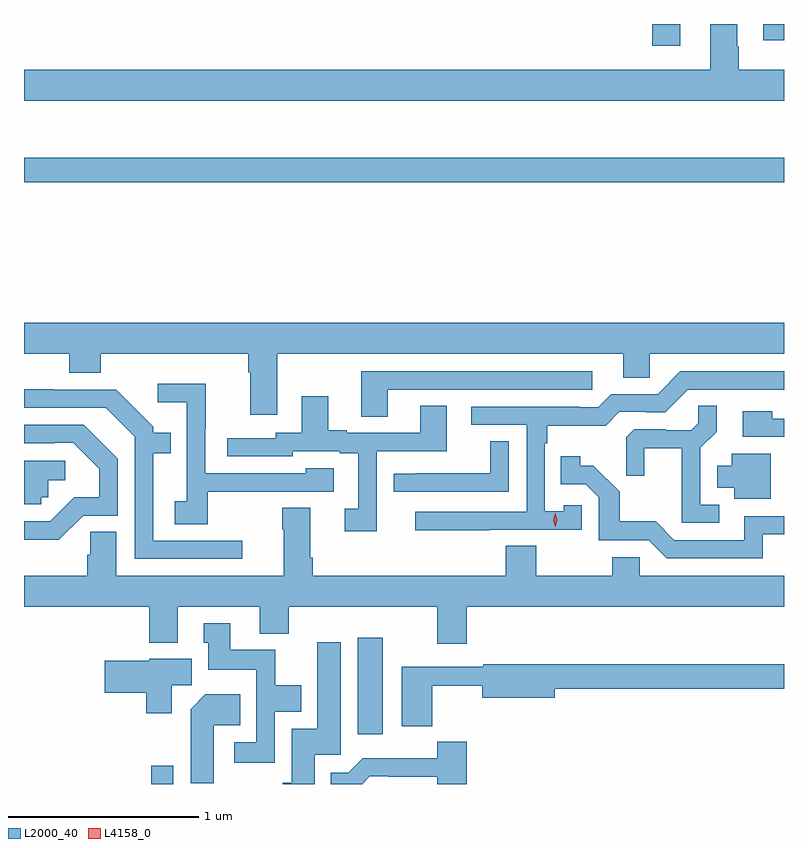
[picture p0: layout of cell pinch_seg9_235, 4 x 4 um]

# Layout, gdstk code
import gdstk
lib = gdstk.Library(unit=1e-6, precision=1e-09)
def R(c, l, rs):  # rectangles x0, y0, x1, y1
    for r in rs: c.add(gdstk.rectangle(r[:2], r[2:], *l))
def P(c, l, *ps):  # polygons
    for p in ps: c.add(gdstk.Polygon(p, *l))
L2000_40 = (2000, 40)
L4158_0 = (4158, 0)

pinch_seg9_235 = lib.new_cell('pinch_seg9_235')
R(pinch_seg9_235, L2000_40, [(424.894,1218.132,425.01,1218.229), (425.981,1218.393,426.112,1218.901), (424.225,1221.298,428.225,1221.427), (427.532,1222.017,427.678,1222.132), (428.115,1222.046,428.225,1222.132)])
P(pinch_seg9_235, L2000_40, [(428.225,1221.892),(427.986,1221.892),(427.986,1222.013),(427.978,1222.013),(427.978,1222.132),(427.838,1222.132),(427.838,1221.892),(424.225,1221.892),(424.225,1221.728),(428.225,1221.728)],
  [(425.557,1220.396),(427.379,1220.396),(427.379,1220.269),(427.518,1220.269),(427.518,1220.396),(428.225,1220.396),(428.225,1220.56),(424.225,1220.56),(424.225,1220.396),(424.463,1220.396),(424.463,1220.297),(424.628,1220.297),(424.628,1220.396),(425.405,1220.396),(425.405,1220.3),(425.417,1220.3),(425.417,1220.076),(425.557,1220.076)],
  [(426.139,1220.208),(427.216,1220.208),(427.216,1220.304),(425.999,1220.304),(425.999,1220.065),(426.139,1220.065)],
  [(426.677,1219.47),(427.161,1219.47),(427.161,1219.599),(427.065,1219.599),(427.065,1219.567),(426.966,1219.567),(426.966,1219.925),(426.979,1219.925),(426.979,1220.018),(427.286,1220.018),(427.359,1220.091),(427.498,1220.091),(427.498,1220.088),(427.599,1220.088),(427.719,1220.208),(428.225,1220.208),(428.225,1220.304),(427.68,1220.304),(427.56,1220.184),(427.317,1220.184),(427.248,1220.115),(427.148,1220.115),(427.148,1220.118),(426.579,1220.118),(426.579,1220.022),(426.87,1220.022),(426.87,1219.566),(426.285,1219.566),(426.285,1219.468),(426.677,1219.468)],
  [(425.191,1219.669),(425.495,1219.669),(425.495,1219.671),(425.854,1219.671),(425.854,1219.795),(425.709,1219.795),(425.709,1219.767),(425.178,1219.767),(425.178,1220),(425.181,1220),(425.181,1220.239),(424.929,1220.239),(424.929,1220.141),(425.082,1220.141),(425.082,1219.62),(425.019,1219.62),(425.019,1219.498),(425.191,1219.498)],
  [(425.374,1219.413),(424.906,1219.413),(424.906,1219.872),(424.997,1219.872),(424.997,1219.981),(424.905,1219.981),(424.905,1220.013),(424.71,1220.208),(424.379,1220.208),(424.379,1220.21),(424.225,1220.21),(424.225,1220.112),(424.656,1220.112),(424.809,1219.959),(424.809,1219.317),(425.374,1219.317)],
  [(426.081,1219.884),(426.451,1219.884),(426.451,1220.123),(426.311,1220.123),(426.311,1219.98),(425.923,1219.98),(425.923,1219.993),(425.827,1219.993),(425.827,1220.173),(425.687,1220.173),(425.687,1219.98),(425.55,1219.98),(425.55,1219.953),(425.295,1219.953),(425.295,1219.857),(425.64,1219.857),(425.64,1219.884),(425.888,1219.884),(425.888,1219.872),(425.984,1219.872),(425.984,1219.581),(425.913,1219.581),(425.913,1219.461),(426.081,1219.461)],
  [(427.885,1219.602),(427.785,1219.602),(427.785,1219.901),(427.871,1219.987),(427.871,1220.123),(427.773,1220.123),(427.773,1220.032),(427.736,1219.995),(427.602,1219.995),(427.602,1219.998),(427.437,1219.998),(427.396,1219.957),(427.396,1219.755),(427.49,1219.755),(427.49,1219.898),(427.688,1219.898),(427.688,1219.506),(427.885,1219.506)],
  [(428.225,1220.055),(428.163,1220.055),(428.163,1220.095),(428.007,1220.095),(428.007,1219.959),(428.225,1219.959)],
  [(424.536,1219.545),(424.719,1219.545),(424.719,1219.843),(424.54,1220.022),(424.225,1220.022),(424.225,1219.926),(424.385,1219.926),(424.385,1219.929),(424.485,1219.929),(424.622,1219.792),(424.622,1219.642),(424.489,1219.642),(424.362,1219.515),(424.227,1219.515),(424.227,1219.418),(424.408,1219.418)],
  [(426.777,1219.937),(426.679,1219.937),(426.679,1219.767),(426.283,1219.767),(426.283,1219.766),(426.171,1219.766),(426.171,1219.671),(426.777,1219.671)],
  [(428.155,1219.87),(427.949,1219.87),(427.949,1219.807),(427.874,1219.807),(427.874,1219.691),(427.964,1219.691),(427.964,1219.634),(428.155,1219.634)],
  [(428.114,1219.446),(428.225,1219.446),(428.225,1219.542),(428.015,1219.542),(428.015,1219.416),(427.647,1219.416),(427.549,1219.515),(427.36,1219.515),(427.36,1219.67),(427.222,1219.808),(427.152,1219.808),(427.152,1219.858),(427.051,1219.858),(427.051,1219.71),(427.182,1219.71),(427.251,1219.641),(427.251,1219.416),(427.512,1219.416),(427.608,1219.32),(428.114,1219.32)],
  [(424.317,1219.641),(424.353,1219.641),(424.353,1219.73),(424.441,1219.73),(424.441,1219.833),(424.225,1219.833),(424.225,1219.605),(424.317,1219.605)],
  [(426.554,1219.064),(428.225,1219.064),(428.225,1219.228),(427.467,1219.228),(427.467,1219.326),(427.321,1219.326),(427.321,1219.228),(426.921,1219.228),(426.921,1219.385),(426.761,1219.385),(426.761,1219.228),(425.744,1219.228),(425.744,1219.324),(425.731,1219.324),(425.731,1219.585),(425.584,1219.585),(425.584,1219.472),(425.591,1219.472),(425.591,1219.228),(424.711,1219.228),(424.711,1219.46),(424.573,1219.46),(424.573,1219.338),(424.559,1219.338),(424.559,1219.228),(424.225,1219.228),(424.225,1219.064),(424.883,1219.064),(424.883,1218.875),(425.035,1218.875),(425.035,1219.064),(425.465,1219.064),(425.465,1218.923),(425.618,1218.923),(425.618,1219.064),(426.401,1219.064),(426.401,1218.87),(426.554,1218.87)],
  [(425.544,1218.512),(425.683,1218.512),(425.683,1218.652),(425.547,1218.652),(425.547,1218.838),(425.311,1218.838),(425.311,1218.979),(425.171,1218.979),(425.171,1218.876),(425.195,1218.876),(425.195,1218.734),(425.448,1218.734),(425.448,1218.351),(425.331,1218.351),(425.331,1218.243),(425.544,1218.243)],
  [(425.755,1218.285),(425.893,1218.285),(425.893,1218.877),(425.768,1218.877),(425.768,1218.424),(425.633,1218.424),(425.633,1218.138),(425.587,1218.138),(425.587,1218.132),(425.755,1218.132)],
  [(425.002,1218.652),(425.107,1218.652),(425.107,1218.79),(424.884,1218.79),(424.884,1218.781),(424.65,1218.781),(424.65,1218.611),(424.868,1218.611),(424.868,1218.504),(425.002,1218.504)],
  [(426.374,1218.649),(426.638,1218.649),(426.638,1218.587),(427.018,1218.587),(427.018,1218.634),(428.225,1218.634),(428.225,1218.763),(426.642,1218.763),(426.642,1218.75),(426.212,1218.75),(426.212,1218.437),(426.374,1218.437)],
  [(425.224,1218.44),(425.363,1218.44),(425.363,1218.604),(425.18,1218.604),(425.102,1218.526),(425.102,1218.135),(425.224,1218.135)],
  [(426.046,1218.174),(426.145,1218.174),(426.145,1218.171),(426.401,1218.171),(426.401,1218.132),(426.554,1218.132),(426.554,1218.355),(426.399,1218.355),(426.399,1218.268),(426.007,1218.268),(425.931,1218.192),(425.84,1218.192),(425.84,1218.132),(426.004,1218.132)])
P(pinch_seg9_235, L4158_0, [(427.021,1219.485),(427.021,1219.485),(427.011,1219.521),(427.021,1219.557),(427.021,1219.557),(427.021,1219.557),(427.031,1219.521),(427.021,1219.485)])

lib.write_gds('pinch_seg9_235.gds')
